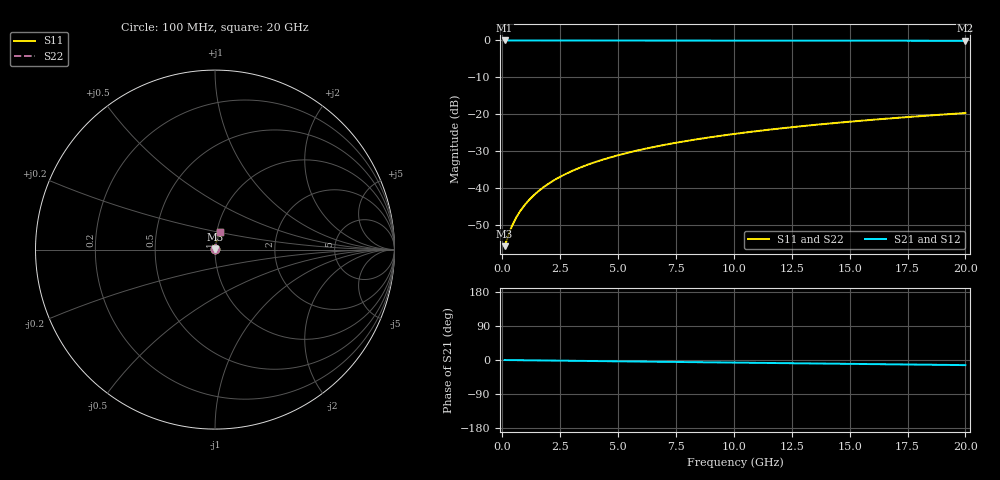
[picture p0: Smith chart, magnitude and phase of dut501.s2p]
! Touchstone file exported from HFSS 2026.1.0
!  File:  C:/ffzhzh/LocalFiles/Ansys_Project_Files/temp_train_TMRDL_501_1783006735_4048.aedt
!  Generated:  11:40:11 PM Jul  2, 2026
!  Design:  TMRDL
!  Project:  temp_train_TMRDL_501_1783006735_4048
! Variables:
!  h_bsmrdl = 2um
!  h_ox = 20um
!  h_rdl = 5um
!  h_sub = 80um
!  h_tmrdl = 3.78um
!  h_tsv = 80um
!  h_via = 3um
!  l_bsmrdl = 300um
!  l_sub = 603.23um
!  l_tmrdl = 203.23um
!  m_sub = 200um
!  pitch = 25.52um
!  r_tsv = 6um
!  s_tmrdl = 10um
!  w_bsmrdl = 18um
!  w_sub = 500um
!  w_tmrdl = 14.23um
!  x_tsv_center1 = 210.345um
!  x_tsv_center2 = 528.345um
!  x_tsv_center3 = 745.805um
!  x_tsv_center4 = 1063.805um
!  x_tsv_center5 = 1281.265um
!  x_tsv_center6 = 1599.265um
# GHz S MA R 50.000000
! Terminal data exported
! Port[1] = TM_RDL1_1_T1
! Port[2] = TM_RDL1_1_T2
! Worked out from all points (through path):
!   200 points, 100 MHz to 20 GHz, reference 50 ohm
!   highest |S21| = -0.01 dB at 100 MHz (marker M1); lowest = -0.1 dB at 20 GHz (marker M2)
!   group delay of S21, straight-line fit = 1.87 ps
!   lowest |S11| = -55.7 dB at 100 MHz (marker M3), VSWR 1.00, Z = 50.2 + j0.0652 ohm
!   |S11| at or under -10 dB: start of sweep to end of sweep
!   |S22| runs from -55.7 to -19.7 dB; largest |S21 - S12| = 3e-15
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0.1  0.001637 23.4  0.9985 -0.1  0.9985 -0.1  0.001637 23.4
! Gamma 0 0 0 0
! Port Impedance 50 0 50 0
0.3  0.00248 49.1  0.9984 -0.2  0.9984 -0.2  0.00248 49.1
0.4  0.002974 55.5  0.9983 -0.3  0.9983 -0.3  0.002975 55.5
0.5  0.003479 59.9  0.9983 -0.4  0.9983 -0.4  0.003479 59.9
0.6  0.003988 63.3  0.9982 -0.4  0.9982 -0.4  0.003988 63.3
0.7  0.004503 66.0  0.9982 -0.5  0.9982 -0.5  0.004503 66.0
0.9  0.005548 69.9  0.9981 -0.6  0.9981 -0.6  0.005548 69.9
1.2  0.007145 73.7  0.9981 -0.8  0.9981 -0.8  0.007145 73.7
1.4  0.008225 75.4  0.998 -1.0  0.998 -1.0  0.008225 75.4
1.7  0.009858 77.1  0.998 -1.2  0.998 -1.2  0.009858 77.1
2.2  0.0126 78.9  0.9978 -1.5  0.9978 -1.5  0.0126 78.9
2.8  0.01589 80.1  0.9977 -2.0  0.9977 -2.0  0.01589 80.1
3.5  0.01973 80.6  0.9974 -2.4  0.9974 -2.4  0.01973 80.6
4.2  0.02354 80.8  0.9972 -2.9  0.9972 -2.9  0.02354 80.8
5  0.02787 80.8  0.9968 -3.5  0.9968 -3.5  0.02787 80.8
5.9  0.03269 80.5  0.9964 -4.1  0.9964 -4.1  0.03269 80.5
6.8  0.03746 80.2  0.996 -4.7  0.996 -4.7  0.03746 80.2
8.3  0.04531 79.5  0.9952 -5.7  0.9952 -5.7  0.04531 79.5
10.1  0.0546 78.6  0.9942 -6.9  0.9942 -6.9  0.0546 78.6
13.4  0.07132 76.8  0.9924 -9.1  0.9924 -9.1  0.07132 76.8
16.7  0.08774 74.9  0.9904 -11.3  0.9904 -11.3  0.08774 74.9
20  0.1039 73.0  0.9882 -13.5  0.9882 -13.5  0.1039 73.0
